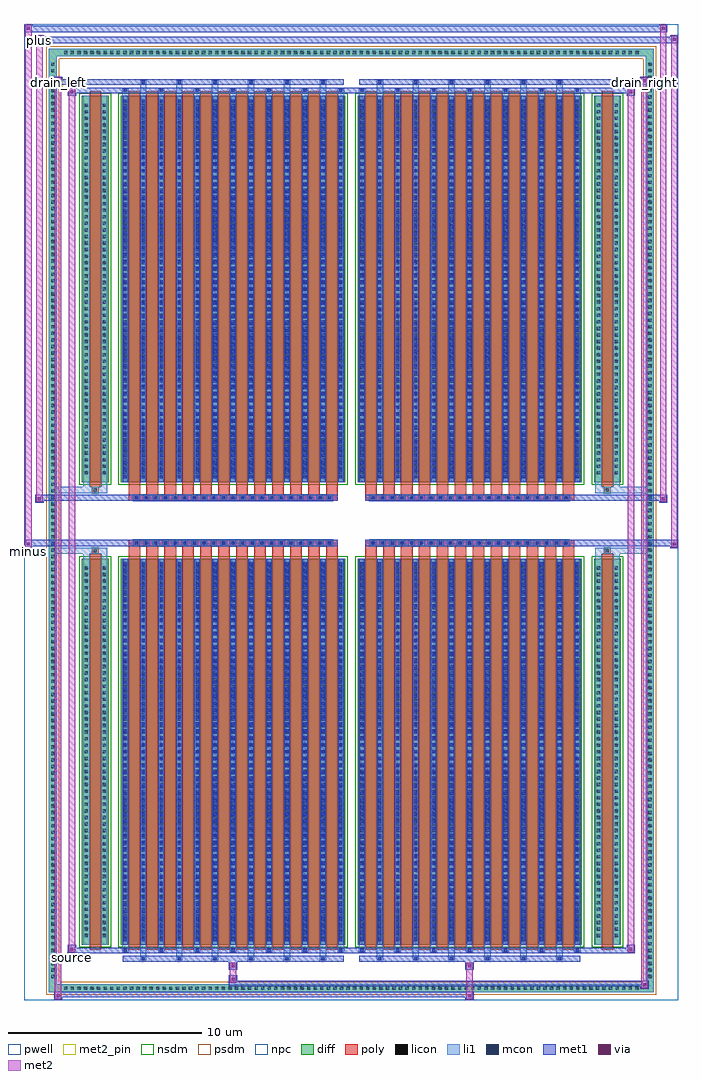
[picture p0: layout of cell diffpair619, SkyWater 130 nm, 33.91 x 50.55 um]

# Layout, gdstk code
import gdstk
lib = gdstk.Library(unit=1e-6, precision=5e-09)
def R(c, l, rs):  # rectangles x0, y0, x1, y1
    for r in rs: c.add(gdstk.rectangle(r[:2], r[2:], *l))
def A(c, l, x, y, w, h, nx, ny, dx, dy):  # array of equal rectangles
    R(c, l, [(x+i*dx, y+j*dy, x+i*dx+w, y+j*dy+h) for i in range(nx) for j in range(ny)])
def P(c, l, *ps):  # polygons
    for p in ps: c.add(gdstk.Polygon(p, *l))
pwell = (64, 44)
diff = (65, 20)
poly = (66, 20)
licon = (66, 44)
li1 = (67, 20)
mcon = (67, 44)
met1 = (68, 20)
via = (68, 44)
met2_pin = (69, 16)
met2 = (69, 20)
nsdm = (93, 44)
psdm = (94, 20)
npc = (95, 20)

diffpair619 = lib.new_cell('diffpair619')
R(diffpair619, pwell, [(-16.94,-24.84,16.94,25.71), (-14.26,-23.03,-0.01,-0.805), (0.01,-23.03,14.26,-0.805), (-14.26,0.805,-0.01,23.03), (0.01,0.805,14.26,23.03)])
A(diffpair619, diff, -14.995, -24.44, 0.41, 0.41, 88, 2, 0.34, 48.47)
A(diffpair619, diff, -15.67, -23.835, 0.41, 0.41, 1, 140, 0, 0.34)
A(diffpair619, diff, 15.26, -23.835, 0.41, 0.41, 1, 140, 0, 0.34)
R(diffpair619, diff, [(-14.995,-24.44,14.995,-24.03), (-15.67,-23.835,-15.26,23.835), (15.26,-23.835,15.67,23.835), (-13.95,-21.985,-12.57,-1.985), (-11.93,-21.985,-0.32,-1.985), (0.32,-21.985,11.93,-1.985), (12.57,-21.985,13.95,-1.985), (-13.95,1.985,-12.57,21.985), (-11.93,1.985,-0.32,21.985), (0.32,1.985,11.93,21.985), (12.57,1.985,13.95,21.985), (-14.995,24.03,14.995,24.44)])
P(diffpair619, diff, [(15.67,24.44),(-15.67,24.44),(-15.67,-24.03),(-15.26,-24.03),(-15.26,24.03),(15.26,24.03),(15.26,-24.03),(-15.26,-24.03),(-15.67,-24.03),(-15.67,-24.44),(15.67,-24.44)])
A(diffpair619, poly, -11.54, -22.235, 0.6, 20.5, 12, 2, 0.93, 23.97)
A(diffpair619, poly, 0.71, -22.235, 0.6, 20.5, 12, 2, 0.93, 23.97)
A(diffpair619, poly, -11.54, -1.735, 0.6, 0.4, 12, 2, 0.93, 3.07)
A(diffpair619, poly, 0.71, -1.735, 0.6, 0.4, 12, 2, 0.93, 3.07)
A(diffpair619, poly, -11.29, -1.335, 0.33, 0.33, 21, 2, 0.5, 2.34)
A(diffpair619, poly, 0.96, -1.335, 0.33, 0.33, 21, 2, 0.5, 2.34)
R(diffpair619, poly, [(-13.56,-22.235,-12.96,-1.735), (12.96,-22.235,13.56,-1.735), (-13.425,-1.735,-13.095,-1.405), (-13.425,-1.735,-13.095,-1.405), (13.095,-1.735,13.425,-1.405), (13.095,-1.735,13.425,-1.405), (-11.54,-1.335,-0.71,-1.005), (0.71,-1.335,11.54,-1.005), (-11.54,1.005,-0.71,1.335), (0.71,1.005,11.54,1.335), (-13.425,1.405,-13.095,1.735), (-13.425,1.405,-13.095,1.735), (13.095,1.405,13.425,1.735), (13.095,1.405,13.425,1.735), (-13.56,1.735,-12.96,22.235), (12.96,1.735,13.56,22.235)])
A(diffpair619, licon, -14.875, -24.32, 0.17, 0.17, 88, 2, 0.34, 48.47)
A(diffpair619, licon, -15.55, -23.715, 0.17, 0.17, 1, 140, 0, 0.34)
A(diffpair619, licon, 15.38, -23.715, 0.17, 0.17, 1, 140, 0, 0.34)
A(diffpair619, licon, -13.81, -21.59, 0.17, 0.17, 1, 57, 0, 0.34)
A(diffpair619, licon, -12.88, -21.59, 0.17, 0.17, 1, 57, 0, 0.34)
A(diffpair619, licon, -11.79, -21.59, 0.17, 0.17, 13, 57, 0.93, 0.34)
A(diffpair619, licon, 0.46, -21.59, 0.17, 0.17, 13, 57, 0.93, 0.34)
A(diffpair619, licon, 12.71, -21.59, 0.17, 0.17, 1, 57, 0, 0.34)
A(diffpair619, licon, 13.64, -21.59, 0.17, 0.17, 1, 57, 0, 0.34)
A(diffpair619, licon, -11.21, -1.255, 0.17, 0.17, 21, 2, 0.5, 2.34)
A(diffpair619, licon, 1.04, -1.255, 0.17, 0.17, 21, 2, 0.5, 2.34)
A(diffpair619, licon, -13.81, 2.38, 0.17, 0.17, 1, 57, 0, 0.34)
A(diffpair619, licon, -12.88, 2.38, 0.17, 0.17, 1, 57, 0, 0.34)
A(diffpair619, licon, -11.79, 2.38, 0.17, 0.17, 13, 57, 0.93, 0.34)
A(diffpair619, licon, 0.46, 2.38, 0.17, 0.17, 13, 57, 0.93, 0.34)
A(diffpair619, licon, 12.71, 2.38, 0.17, 0.17, 1, 57, 0, 0.34)
A(diffpair619, licon, 13.64, 2.38, 0.17, 0.17, 1, 57, 0, 0.34)
R(diffpair619, licon, [(-13.345,-1.655,-13.175,-1.485), (13.175,-1.655,13.345,-1.485), (-13.345,1.485,-13.175,1.655), (13.175,1.485,13.345,1.655)])
A(diffpair619, li1, -14.955, -24.4, 0.33, 0.33, 88, 2, 0.34, 48.47)
A(diffpair619, li1, -15.63, -23.795, 0.33, 0.33, 1, 140, 0, 0.34)
A(diffpair619, li1, 15.3, -23.795, 0.33, 0.33, 1, 140, 0, 0.34)
A(diffpair619, li1, -10.94, -22.79, 0.33, 0.805, 6, 2, 1.86, 44.775)
A(diffpair619, li1, -10.86, -22.79, 0.17, 0.17, 6, 2, 1.86, 45.41)
A(diffpair619, li1, 1.31, -22.79, 0.33, 0.805, 6, 2, 1.86, 44.775)
A(diffpair619, li1, 1.39, -22.79, 0.17, 0.17, 6, 2, 1.86, 45.41)
A(diffpair619, li1, -11.87, -22.36, 0.33, 0.375, 7, 2, 1.86, 44.345)
A(diffpair619, li1, -11.79, -22.36, 0.17, 0.17, 7, 2, 1.86, 44.55)
A(diffpair619, li1, 0.38, -22.36, 0.33, 0.375, 7, 2, 1.86, 44.345)
A(diffpair619, li1, 0.46, -22.36, 0.17, 0.17, 7, 2, 1.86, 44.55)
A(diffpair619, li1, -11.87, -21.985, 0.33, 20, 13, 2, 0.93, 23.97)
A(diffpair619, li1, 0.38, -21.985, 0.33, 20, 13, 2, 0.93, 23.97)
A(diffpair619, li1, -11.79, -21.79, 0.17, 0.17, 13, 55, 0.93, 0.36)
A(diffpair619, li1, -11.79, -21.79, 0.17, 19.61, 13, 2, 0.93, 23.97)
A(diffpair619, li1, 0.46, -21.79, 0.17, 0.17, 13, 55, 0.93, 0.36)
A(diffpair619, li1, 0.46, -21.79, 0.17, 19.61, 13, 2, 0.93, 23.97)
A(diffpair619, li1, -13.89, -21.67, 0.33, 0.33, 1, 57, 0, 0.34)
A(diffpair619, li1, -12.96, -21.67, 0.33, 0.33, 1, 57, 0, 0.34)
A(diffpair619, li1, -11.87, -21.67, 0.33, 0.33, 13, 57, 0.93, 0.34)
A(diffpair619, li1, 0.38, -21.67, 0.33, 0.33, 13, 57, 0.93, 0.34)
A(diffpair619, li1, 12.63, -21.67, 0.33, 0.33, 1, 57, 0, 0.34)
A(diffpair619, li1, 13.56, -21.67, 0.33, 0.33, 1, 57, 0, 0.34)
A(diffpair619, li1, -11.29, -1.335, 0.33, 0.33, 21, 2, 0.5, 2.34)
A(diffpair619, li1, 0.96, -1.335, 0.33, 0.33, 21, 2, 0.5, 2.34)
A(diffpair619, li1, -11.79, 2.18, 0.17, 0.17, 13, 55, 0.93, 0.36)
A(diffpair619, li1, 0.46, 2.18, 0.17, 0.17, 13, 55, 0.93, 0.36)
A(diffpair619, li1, -13.89, 2.3, 0.33, 0.33, 1, 57, 0, 0.34)
A(diffpair619, li1, -12.96, 2.3, 0.33, 0.33, 1, 57, 0, 0.34)
A(diffpair619, li1, -11.87, 2.3, 0.33, 0.33, 13, 57, 0.93, 0.34)
A(diffpair619, li1, 0.38, 2.3, 0.33, 0.33, 13, 57, 0.93, 0.34)
A(diffpair619, li1, 12.63, 2.3, 0.33, 0.33, 1, 57, 0, 0.34)
A(diffpair619, li1, 13.56, 2.3, 0.33, 0.33, 1, 57, 0, 0.34)
R(diffpair619, li1, [(-15.67,-24.44,-15.26,-24.03), (-15.67,-24.44,-15.26,-24.03), (-15.26,-24.44,15.26,-24.03), (15.26,-24.44,15.67,-24.03), (15.26,-24.44,15.67,-24.03), (-15.67,-24.03,-15.26,24.03), (15.26,-24.03,15.67,24.03), (-13.89,-21.985,-13.56,-1.985), (-12.96,-21.985,-12.63,-1.985), (12.63,-21.985,12.96,-1.985), (13.56,-21.985,13.89,-1.985), (-13.89,-1.985,-13.56,-1.405), (-12.96,-1.985,-12.63,-1.405), (12.63,-1.985,12.96,-1.405), (13.56,-1.985,13.89,-1.405), (-15.67,-1.735,-13.425,-1.405), (-13.89,-1.735,-13.425,-1.405), (-13.425,-1.735,-13.095,-1.405), (-13.095,-1.735,-12.63,-1.405), (12.63,-1.735,13.095,-1.405), (13.095,-1.735,13.425,-1.405), (13.095,-1.735,15.67,-1.405), (13.425,-1.735,13.89,-1.405), (-15.67,1.405,-13.425,1.735), (-13.89,1.405,-13.425,1.735), (-13.89,1.405,-13.56,1.985), (-13.425,1.405,-13.095,1.735), (-13.095,1.405,-12.63,1.735), (-12.96,1.405,-12.63,1.985), (12.63,1.405,13.095,1.735), (12.63,1.405,12.96,1.985), (13.095,1.405,13.425,1.735), (13.095,1.405,15.67,1.735), (13.425,1.405,13.89,1.735), (13.56,1.405,13.89,1.985), (-13.89,1.985,-13.56,21.985), (-12.96,1.985,-12.63,21.985), (12.63,1.985,12.96,21.985), (13.56,1.985,13.89,21.985), (-15.67,24.03,-15.26,24.44), (-15.67,24.03,-15.26,24.44), (-15.26,24.03,15.26,24.44), (15.26,24.03,15.67,24.44), (15.26,24.03,15.67,24.44)])
A(diffpair619, mcon, -10.86, -22.79, 0.17, 0.17, 6, 2, 1.86, 45.41)
A(diffpair619, mcon, 1.39, -22.79, 0.17, 0.17, 6, 2, 1.86, 45.41)
A(diffpair619, mcon, -11.79, -22.36, 0.17, 0.17, 7, 2, 1.86, 44.55)
A(diffpair619, mcon, 0.46, -22.36, 0.17, 0.17, 7, 2, 1.86, 44.55)
A(diffpair619, mcon, -11.79, -21.79, 0.17, 0.17, 13, 55, 0.93, 0.36)
A(diffpair619, mcon, 0.46, -21.79, 0.17, 0.17, 13, 55, 0.93, 0.36)
A(diffpair619, mcon, -11.21, -1.255, 0.17, 0.17, 21, 2, 0.5, 2.34)
A(diffpair619, mcon, 1.04, -1.255, 0.17, 0.17, 21, 2, 0.5, 2.34)
A(diffpair619, mcon, -11.79, 2.18, 0.17, 0.17, 13, 55, 0.93, 0.36)
A(diffpair619, mcon, 0.46, 2.18, 0.17, 0.17, 13, 55, 0.93, 0.36)
A(diffpair619, met1, -10.92, -22.85, 0.29, 0.29, 6, 2, 1.86, 45.41)
A(diffpair619, met1, 1.33, -22.85, 0.29, 0.29, 6, 2, 1.86, 45.41)
A(diffpair619, met1, -11.85, -22.42, 0.29, 0.29, 7, 2, 1.86, 44.55)
A(diffpair619, met1, 0.4, -22.42, 0.29, 0.29, 7, 2, 1.86, 44.55)
A(diffpair619, met1, -11.85, -21.985, 0.29, 20, 13, 2, 0.93, 23.97)
A(diffpair619, met1, 0.4, -21.985, 0.29, 20, 13, 2, 0.93, 23.97)
A(diffpair619, met1, -11.85, -21.85, 0.29, 0.29, 13, 55, 0.93, 0.36)
A(diffpair619, met1, 0.4, -21.85, 0.29, 0.29, 13, 55, 0.93, 0.36)
A(diffpair619, met1, -11.27, -1.315, 0.29, 0.29, 21, 2, 0.5, 2.34)
A(diffpair619, met1, 0.98, -1.315, 0.29, 0.29, 21, 2, 0.5, 2.34)
A(diffpair619, met1, -11.85, 2.12, 0.29, 0.29, 13, 55, 0.93, 0.36)
A(diffpair619, met1, 0.4, 2.12, 0.29, 0.29, 13, 55, 0.93, 0.36)
R(diffpair619, met1, [(-15.4,-24.84,-14.97,-24.41), (5.91,-24.84,6.34,-24.41), (-15.4,-24.7,6.34,-24.41), (14.97,-24.27,15.4,-23.84), (-6.34,-24.13,15.4,-23.84), (-6.34,-23.99,-5.91,-23.56), (-6.34,-23.28,-5.91,-22.85), (5.91,-23.28,6.34,-22.85), (-11.85,-22.85,-0.4,-22.56), (0.4,-22.85,11.85,-22.56), (-14.69,-22.42,-14.26,-21.99), (-14.69,-22.42,-11.85,-22.13), (-11.85,-22.42,-0.4,-22.13), (-0.4,-22.42,0.4,-22.13), (0.4,-22.42,11.85,-22.13), (11.85,-22.42,14.69,-22.13), (14.26,-22.42,14.69,-21.99), (-16.94,-1.435,-16.51,-1.005), (16.51,-1.435,16.94,-1.005), (-16.94,-1.335,-0.71,-1.005), (-11.54,-1.335,-0.71,-1.005), (0.71,-1.335,11.54,-1.005), (0.71,-1.335,16.94,-1.005), (-16.37,0.905,-15.94,1.335), (15.94,0.905,16.37,1.335), (-16.37,1.005,-11.54,1.335), (-11.54,1.005,-0.71,1.335), (0.71,1.005,11.54,1.335), (11.54,1.005,16.37,1.335), (-14.69,21.99,-14.26,22.42), (14.26,21.99,14.69,22.42), (-14.69,22.13,-11.85,22.42), (-11.85,22.13,-0.4,22.42), (-0.4,22.13,0.4,22.42), (0.4,22.13,11.85,22.42), (11.85,22.13,14.69,22.42), (-15.4,22.56,-14.97,22.99), (-15.4,22.56,-11.85,22.85), (-11.85,22.56,-0.4,22.85), (0.4,22.56,11.85,22.85), (11.85,22.56,15.4,22.85), (14.97,22.56,15.4,22.99), (-16.37,24.71,-15.94,25.14), (-16.37,24.71,-14.26,25.04), (-14.26,24.71,14.26,25.04), (14.26,24.71,16.94,25.04), (16.51,24.71,16.94,25.14), (-16.94,25.28,-16.51,25.71), (-16.94,25.28,-14.26,25.61), (-14.26,25.28,14.26,25.61), (14.26,25.28,16.37,25.61), (15.94,25.28,16.37,25.71)])
R(diffpair619, via, [(-15.26,-24.7,-15.11,-24.55), (6.05,-24.7,6.2,-24.55), (15.11,-24.13,15.26,-23.98), (-6.2,-23.85,-6.05,-23.7), (-6.2,-23.14,-6.05,-22.99), (6.05,-23.14,6.2,-22.99), (-14.55,-22.28,-14.4,-22.13), (14.4,-22.28,14.55,-22.13), (-16.8,-1.295,-16.65,-1.145), (16.65,-1.295,16.8,-1.145), (-16.23,1.045,-16.08,1.195), (16.08,1.045,16.23,1.195), (-14.55,22.13,-14.4,22.28), (14.4,22.13,14.55,22.28), (-15.26,22.7,-15.11,22.85), (15.11,22.7,15.26,22.85), (-16.23,24.85,-16.08,25), (16.65,24.85,16.8,25), (-16.8,25.42,-16.65,25.57), (16.08,25.42,16.23,25.57)])
R(diffpair619, met2_pin, [(-14.725,-22.87,-14.225,-22.37), (-16.975,-1.885,-16.475,-1.385), (-15.435,22.44,-14.935,22.94), (14.935,22.44,15.435,22.94), (-16.405,24.59,-15.905,25.09)])
R(diffpair619, met2, [(-15.35,-24.79,-15.02,-24.46), (-15.35,-24.79,-15.02,22.94), (5.96,-24.79,6.29,-24.46), (5.96,-24.46,6.29,-23.23), (15.02,-24.22,15.35,-23.89), (15.02,-24.22,15.35,22.94), (-6.29,-23.94,-5.96,-23.61), (-6.29,-23.61,-5.96,-23.23), (-6.29,-23.23,-5.96,-22.9), (5.96,-23.23,6.29,-22.9), (-14.64,-22.37,-14.31,-22.04), (-14.64,-22.37,-14.31,22.37), (14.31,-22.37,14.64,-22.04), (14.31,-22.37,14.64,22.37), (-16.89,-1.385,-16.56,-1.055), (-16.89,-1.385,-16.56,25.66), (16.56,-1.385,16.89,-1.055), (16.56,-1.385,16.89,25.09), (-16.32,0.955,-15.99,1.285), (-16.32,0.955,-15.99,25.09), (15.99,0.955,16.32,1.285), (15.99,0.955,16.32,25.66), (-14.64,22.04,-14.31,22.37), (14.31,22.04,14.64,22.37), (-15.35,22.61,-15.02,22.94), (15.02,22.61,15.35,22.94), (-16.32,24.76,-15.99,25.09), (16.56,24.76,16.89,25.09), (-16.89,25.33,-16.56,25.66), (15.99,25.33,16.32,25.66)])
P(diffpair619, met2, [(16.89,-1.385),(16.89,-1.385),(16.89,-1.055),(16.89,-1.055)],
  [(16.89,24.76),(16.89,24.76),(16.89,25.09),(16.89,25.09)],
  [(-16.56,-1.385),(-16.56,-1.385),(-16.56,-1.055),(-16.56,-1.055)],
  [(-16.56,25.33),(-16.56,25.33),(-16.56,25.66),(-16.56,25.66)],
  [(16.32,0.955),(16.32,0.955),(16.32,1.285),(16.32,1.285)],
  [(16.32,25.33),(16.32,25.33),(16.32,25.66),(16.32,25.66)],
  [(-15.99,0.955),(-15.99,0.955),(-15.99,1.285),(-15.99,1.285)],
  [(-15.99,24.76),(-15.99,24.76),(-15.99,25.09),(-15.99,25.09)],
  [(-15.02,-24.79),(-15.02,-24.79),(-15.02,-24.46),(-15.02,-24.46)],
  [(-15.02,22.61),(-15.02,22.61),(-15.02,22.94),(-15.02,22.94)],
  [(15.35,-24.22),(15.35,-24.22),(15.35,-23.89),(15.35,-23.89)],
  [(15.35,22.61),(15.35,22.61),(15.35,22.94),(15.35,22.94)],
  [(-14.31,-22.37),(-14.31,-22.37),(-14.31,-22.04),(-14.31,-22.04)],
  [(-14.31,22.04),(-14.31,22.04),(-14.31,22.37),(-14.31,22.37)],
  [(14.64,-22.37),(14.64,-22.37),(14.64,-22.04),(14.64,-22.04)],
  [(14.64,22.04),(14.64,22.04),(14.64,22.37),(14.64,22.37)])
R(diffpair619, nsdm, [(-14.08,-22.115,-12.44,-1.855), (-12.06,-22.115,-0.19,-1.855), (0.19,-22.115,12.06,-1.855), (12.44,-22.115,14.08,-1.855), (-14.08,1.855,-12.44,22.115), (-12.06,1.855,-0.19,22.115), (0.19,1.855,12.06,22.115), (12.44,1.855,14.08,22.115)])
P(diffpair619, psdm, [(15.8,24.57),(-15.8,24.57),(-15.8,-23.9),(-15.13,-23.9),(-15.13,23.9),(15.13,23.9),(15.13,-23.9),(-15.13,-23.9),(-15.8,-23.9),(-15.8,-24.57),(15.8,-24.57)])
A(diffpair619, npc, -11.31, -1.355, 0.37, 0.37, 21, 2, 0.5, 2.34)
A(diffpair619, npc, 0.94, -1.355, 0.37, 0.37, 21, 2, 0.5, 2.34)
R(diffpair619, npc, [(-13.445,-1.755,-13.075,-1.385), (13.075,-1.755,13.445,-1.385), (-11.31,-1.355,-10.44,-0.985), (-11.31,-1.355,-10.44,-0.985), (-10.81,-1.355,-9.94,-0.985), (-10.81,-1.355,-9.94,-0.985), (-10.31,-1.355,-9.44,-0.985), (-10.31,-1.355,-9.44,-0.985), (-9.81,-1.355,-8.94,-0.985), (-9.81,-1.355,-8.94,-0.985), (-9.31,-1.355,-8.44,-0.985), (-9.31,-1.355,-8.44,-0.985), (-8.81,-1.355,-7.94,-0.985), (-8.81,-1.355,-7.94,-0.985), (-8.31,-1.355,-7.44,-0.985), (-8.31,-1.355,-7.44,-0.985), (-7.81,-1.355,-6.94,-0.985), (-7.81,-1.355,-6.94,-0.985), (-7.31,-1.355,-6.44,-0.985), (-7.31,-1.355,-6.44,-0.985), (-6.81,-1.355,-5.94,-0.985), (-6.81,-1.355,-5.94,-0.985), (-6.31,-1.355,-5.44,-0.985), (-6.31,-1.355,-5.44,-0.985), (-5.81,-1.355,-4.94,-0.985), (-5.81,-1.355,-4.94,-0.985), (-5.31,-1.355,-4.44,-0.985), (-5.31,-1.355,-4.44,-0.985), (-4.81,-1.355,-3.94,-0.985), (-4.81,-1.355,-3.94,-0.985), (-4.31,-1.355,-3.44,-0.985), (-4.31,-1.355,-3.44,-0.985), (-3.81,-1.355,-2.94,-0.985), (-3.81,-1.355,-2.94,-0.985), (-3.31,-1.355,-2.44,-0.985), (-3.31,-1.355,-2.44,-0.985), (-2.81,-1.355,-1.94,-0.985), (-2.81,-1.355,-1.94,-0.985), (-2.31,-1.355,-1.44,-0.985), (-2.31,-1.355,-1.44,-0.985), (-1.81,-1.355,-0.94,-0.985), (-1.81,-1.355,-0.94,-0.985), (0.94,-1.355,1.81,-0.985), (0.94,-1.355,1.81,-0.985), (1.44,-1.355,2.31,-0.985), (1.44,-1.355,2.31,-0.985), (1.94,-1.355,2.81,-0.985), (1.94,-1.355,2.81,-0.985), (2.44,-1.355,3.31,-0.985), (2.44,-1.355,3.31,-0.985), (2.94,-1.355,3.81,-0.985), (2.94,-1.355,3.81,-0.985), (3.44,-1.355,4.31,-0.985), (3.44,-1.355,4.31,-0.985), (3.94,-1.355,4.81,-0.985), (3.94,-1.355,4.81,-0.985), (4.44,-1.355,5.31,-0.985), (4.44,-1.355,5.31,-0.985), (4.94,-1.355,5.81,-0.985), (4.94,-1.355,5.81,-0.985), (5.44,-1.355,6.31,-0.985), (5.44,-1.355,6.31,-0.985), (5.94,-1.355,6.81,-0.985), (5.94,-1.355,6.81,-0.985), (6.44,-1.355,7.31,-0.985), (6.44,-1.355,7.31,-0.985), (6.94,-1.355,7.81,-0.985), (6.94,-1.355,7.81,-0.985), (7.44,-1.355,8.31,-0.985), (7.44,-1.355,8.31,-0.985), (7.94,-1.355,8.81,-0.985), (7.94,-1.355,8.81,-0.985), (8.44,-1.355,9.31,-0.985), (8.44,-1.355,9.31,-0.985), (8.94,-1.355,9.81,-0.985), (8.94,-1.355,9.81,-0.985), (9.44,-1.355,10.31,-0.985), (9.44,-1.355,10.31,-0.985), (9.94,-1.355,10.81,-0.985), (9.94,-1.355,10.81,-0.985), (10.44,-1.355,11.31,-0.985), (10.44,-1.355,11.31,-0.985), (-11.31,0.985,-10.44,1.355), (-11.31,0.985,-10.44,1.355), (-10.81,0.985,-9.94,1.355), (-10.81,0.985,-9.94,1.355), (-10.31,0.985,-9.44,1.355), (-10.31,0.985,-9.44,1.355), (-9.81,0.985,-8.94,1.355), (-9.81,0.985,-8.94,1.355), (-9.31,0.985,-8.44,1.355), (-9.31,0.985,-8.44,1.355), (-8.81,0.985,-7.94,1.355), (-8.81,0.985,-7.94,1.355), (-8.31,0.985,-7.44,1.355), (-8.31,0.985,-7.44,1.355), (-7.81,0.985,-6.94,1.355), (-7.81,0.985,-6.94,1.355), (-7.31,0.985,-6.44,1.355), (-7.31,0.985,-6.44,1.355), (-6.81,0.985,-5.94,1.355), (-6.81,0.985,-5.94,1.355), (-6.31,0.985,-5.44,1.355), (-6.31,0.985,-5.44,1.355), (-5.81,0.985,-4.94,1.355), (-5.81,0.985,-4.94,1.355), (-5.31,0.985,-4.44,1.355), (-5.31,0.985,-4.44,1.355), (-4.81,0.985,-3.94,1.355), (-4.81,0.985,-3.94,1.355), (-4.31,0.985,-3.44,1.355), (-4.31,0.985,-3.44,1.355), (-3.81,0.985,-2.94,1.355), (-3.81,0.985,-2.94,1.355), (-3.31,0.985,-2.44,1.355), (-3.31,0.985,-2.44,1.355), (-2.81,0.985,-1.94,1.355), (-2.81,0.985,-1.94,1.355), (-2.31,0.985,-1.44,1.355), (-2.31,0.985,-1.44,1.355), (-1.81,0.985,-0.94,1.355), (-1.81,0.985,-0.94,1.355), (0.94,0.985,1.81,1.355), (0.94,0.985,1.81,1.355), (1.44,0.985,2.31,1.355), (1.44,0.985,2.31,1.355), (1.94,0.985,2.81,1.355), (1.94,0.985,2.81,1.355), (2.44,0.985,3.31,1.355), (2.44,0.985,3.31,1.355), (2.94,0.985,3.81,1.355), (2.94,0.985,3.81,1.355), (3.44,0.985,4.31,1.355), (3.44,0.985,4.31,1.355), (3.94,0.985,4.81,1.355), (3.94,0.985,4.81,1.355), (4.44,0.985,5.31,1.355), (4.44,0.985,5.31,1.355), (4.94,0.985,5.81,1.355), (4.94,0.985,5.81,1.355), (5.44,0.985,6.31,1.355), (5.44,0.985,6.31,1.355), (5.94,0.985,6.81,1.355), (5.94,0.985,6.81,1.355), (6.44,0.985,7.31,1.355), (6.44,0.985,7.31,1.355), (6.94,0.985,7.81,1.355), (6.94,0.985,7.81,1.355), (7.44,0.985,8.31,1.355), (7.44,0.985,8.31,1.355), (7.94,0.985,8.81,1.355), (7.94,0.985,8.81,1.355), (8.44,0.985,9.31,1.355), (8.44,0.985,9.31,1.355), (8.94,0.985,9.81,1.355), (8.94,0.985,9.81,1.355), (9.44,0.985,10.31,1.355), (9.44,0.985,10.31,1.355), (9.94,0.985,10.81,1.355), (9.94,0.985,10.81,1.355), (10.44,0.985,11.31,1.355), (10.44,0.985,11.31,1.355), (-13.445,1.385,-13.075,1.755), (13.075,1.385,13.445,1.755)])
diffpair619.add(gdstk.Label('minus', (-16.725,-1.635), layer=69, texttype=5))
diffpair619.add(gdstk.Label('drain_right', (15.185,22.69), layer=69, texttype=5))
diffpair619.add(gdstk.Label('drain_left', (-15.185,22.69), layer=69, texttype=5))
diffpair619.add(gdstk.Label('source', (-14.475,-22.62), layer=69, texttype=5))
diffpair619.add(gdstk.Label('plus', (-16.155,24.84), layer=69, texttype=5))

lib.write_gds('diffpair619.gds')
